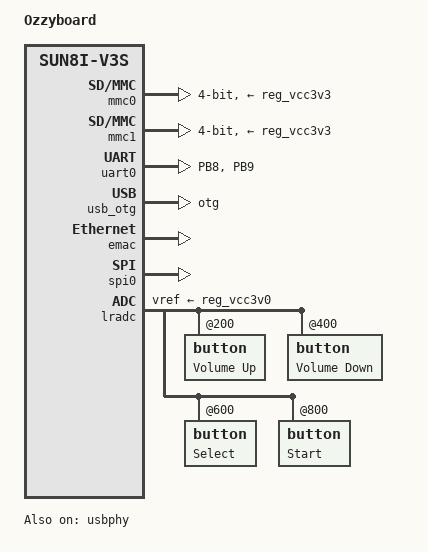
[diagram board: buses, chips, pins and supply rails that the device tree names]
/dts-v1/;
#include "sun8i-V3s-Ozzyboard_uboot.dtsi"
#include "sunxi-common-regulators.dtsi"
#include <dt-bindings/input/input.h>


/ {
	model = "Ozzyboard";
	compatible = "ozzyboard", "allwinner,sun8i-v3s";

	aliases {
		serial0 = &uart0;
		ethernet0 = &emac;
		
	};

	chosen {
		stdout-path = "serial0:115200n8";
		
		fb0: framebuffer@0 {
			compatible = "allwinner,simple-framebuffer", "simple-framebuffer";
			allwinner,pipeline = "de0-lcd0";
			clocks = <0x2 0x21 0x2 0x23 0x2 0x3f 0x2 0x40>;
			status = "disabled";
		};
	};
};
	
&mmc0 {
	/* pinctrl-0 = <&mmc0_pins>;
	  pinctrl-names = "default"; 
	*/
	broken-cd;
	bus-width = <4>;
	vmmc-supply = <&reg_vcc3v3>;
	status = "okay";
};

&mmc1 {
	/* pinctrl-0 = <&mmc1_pins>;
	  pinctrl-names = "default";
	*/
	broken-cd;
	bus-width = <4>;
	vmmc-supply = <&reg_vcc3v3>;
	status = "okay";
};


&uart0 {
	pinctrl-0 = <&uart0_pins>;
	pinctrl-names = "default";
	status = "okay";
};



&usb_otg {
	dr_mode = "otg";
	status = "okay";
};

&usbphy {
	/* pinctrl-0 = <&usb0_id_detect_pin>; */
	usb0_id_det-gpio = <&pio 5 6 GPIO_ACTIVE_HIGH>;
	status = "okay";
};

                 
&emac {
	allwinner,leds-active-high;
	status = "okay";
};


&spi0 {
	pinctrl-0 = <&spi0_pins>;
	pinctrl-names = "default";
	status = "okay";
	
};

&lradc {
	vref-supply = <&reg_vcc3v0>;
	status = "okay";

	button@200 {
		label = "Volume Up";
		linux,code = <KEY_VOLUMEUP>;
		channel = <0>;
		voltage = <200000>;
	};

	button@400 {
		label = "Volume Down";
		linux,code = <KEY_VOLUMEDOWN>;
		channel = <0>;
		voltage = <400000>;
	};

	button@600 {
		label = "Select";
		linux,code = <KEY_SELECT>;
		channel = <0>;
		voltage = <600000>;
	};

	button@800 {
		label = "Start";
		linux,code = <KEY_OK>;
		channel = <0>;
		voltage = <800000>;
	};
};

&pio {
	
	uart0_pins: uart0@0 {
	 	pins = "PB8", "PB9";
		function = "uart0";
	};
	
	i2c0_pins: i2c0 {
		pins = "PB6", "PB7";
		function = "i2c0";
	};

	i2c1_pins: i2c1 {
		pins = "PE21", "PE22";
		function = "i2c1";
	};
	
	usb0_id_detect_pin: usbid@0 {
	 	pins = "PF6";
		function = "gpio_in";
	};
	
};


